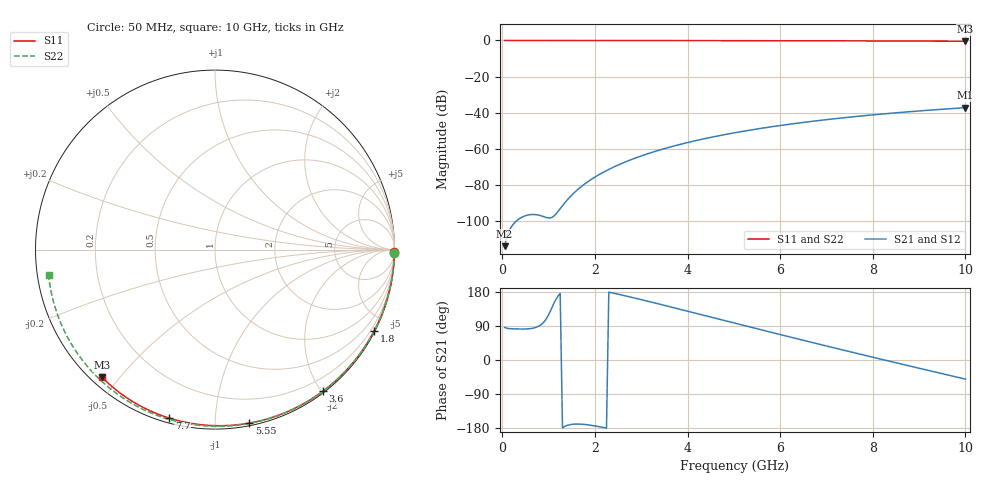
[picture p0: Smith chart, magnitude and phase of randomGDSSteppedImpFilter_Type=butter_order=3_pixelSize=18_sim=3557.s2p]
! freq	dB(S11)	phase(S11)	dB(S12)	phase(S12)
!  dB(S21)	phase(S21)	dB(S22)	phase(S22)
!S-par simulation data
#  GHz  S  DB  R 50
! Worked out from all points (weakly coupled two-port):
!   200 points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, 50 MHz to 10 GHz, reference 50 ohm
!   highest |S21| = -37.27 dB at 10 GHz (marker M1); lowest = -114.0 dB at 50 MHz (marker M2)
!   lowest |S11| = -0.4 dB at 10 GHz (marker M3), VSWR 39.01, Z = 1.54 - j22.5 ohm
!   |S11| at or under -10 dB: nowhere
!   |S22| runs from -0.6 to 0.0 dB; largest |S21 - S12| = 0
!   S11 on the Smith chart (normalised r, x): 50 MHz: open; 1.8 GHz: 0.04, -4.17; 3.6 GHz: 0.02, -2.02; 5.55 GHz: 0.02, -1.22; 7.7 GHz: 0.02, -0.76; 10 GHz: 0.03, -0.45
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0.05  -0.00 -0.8  -114.00 85.9  -114.00 85.9  -0.00 -1.0
0.45  -0.01 -6.8  -97.63 81.7  -97.63 81.7  -0.01 -9.0
0.85  -0.02 -12.9  -97.26 94.5  -97.26 94.5  -0.02 -17.0
1.3  -0.02 -19.6  -91.55 -179.0  -91.55 -179.0  -0.03 -25.8
1.75  -0.03 -26.2  -80.08 -169.8  -80.08 -169.8  -0.04 -34.5
1.8  -0.03 -27.0  -79.12 -170.4  -79.12 -170.4  -0.05 -35.5
1.95  -0.04 -29.2  -76.51 -172.9  -76.51 -172.9  -0.05 -38.3
2.1  -0.04 -31.4  -74.19 -176.1  -74.19 -176.1  -0.05 -41.2
2.3  -0.04 -34.3  -71.45 179.1  -71.45 179.1  -0.06 -45.0
2.5  -0.05 -37.2  -69.04 173.7  -69.04 173.7  -0.06 -48.7
2.9  -0.06 -42.9  -64.91 162.3  -64.91 162.3  -0.07 -56.1
3.4  -0.07 -49.9  -60.69 147.3  -60.69 147.3  -0.09 -65.2
3.6  -0.07 -52.7  -59.22 141.2  -59.22 141.2  -0.09 -68.8
4.3  -0.09 -62.3  -54.80 119.5  -54.80 119.5  -0.11 -81.0
5.05  -0.11 -72.3  -51.00 96.3  -51.00 96.3  -0.14 -93.6
5.55  -0.13 -78.8  -48.85 80.9  -48.85 80.9  -0.17 -101.8
6.1  -0.15 -85.7  -46.77 64.1  -46.77 64.1  -0.20 -110.7
6.7  -0.18 -93.2  -44.78 46.0  -44.78 46.0  -0.23 -120.1
7.7  -0.24 -105.2  -41.97 16.1  -41.97 16.1  -0.31 -135.6
8.35  -0.29 -112.8  -40.43 -2.9  -40.43 -2.9  -0.37 -145.6
9.2  -0.36 -122.5  -38.67 -27.5  -38.67 -27.5  -0.46 -158.7
10  -0.45 -131.6  -37.27 -50.4  -37.27 -50.4  -0.56 -171.4
